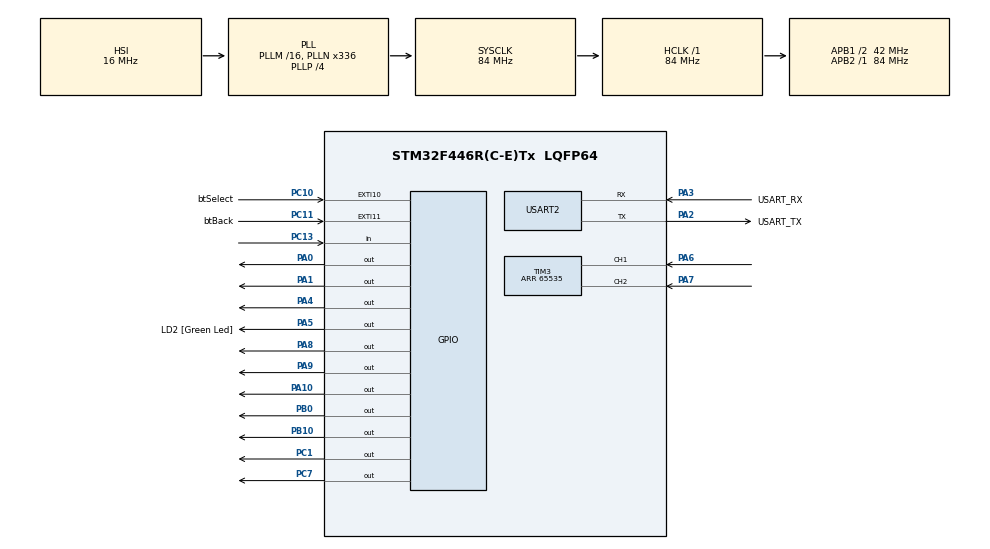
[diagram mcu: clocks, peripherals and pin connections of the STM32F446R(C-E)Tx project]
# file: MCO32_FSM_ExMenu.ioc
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Mcu.Family=STM32F4
Mcu.Name=STM32F446R(C-E)Tx
Mcu.Package=LQFP64
NVIC.EXTI15_10_IRQn=true\:0\:0\:false\:false\:true\:true\:true\:true
NVIC.PriorityGroup=NVIC_PRIORITYGROUP_0
PA0-WKUP.Signal=GPIO_Output
PA1.Signal=GPIO_Output
PA10.Signal=GPIO_Output
PA13.GPIO_Label=TMS
PA13.Mode=Serial_Wire
PA13.Signal=SYS_JTMS-SWDIO
PA14.GPIO_Label=TCK
PA14.Mode=Serial_Wire
PA14.Signal=SYS_JTCK-SWCLK
PA2.GPIO_Label=USART_TX
PA2.Mode=Asynchronous
PA2.Signal=USART2_TX
PA3.GPIO_Label=USART_RX
PA3.Mode=Asynchronous
PA3.Signal=USART2_RX
PA4.Signal=GPIO_Output
PA5.GPIO_Label=LD2 [Green Led]
PA5.Signal=GPIO_Output
PA6.Signal=S_TIM3_CH1
PA7.Signal=S_TIM3_CH2
PA8.Signal=GPIO_Output
PA9.Signal=GPIO_Output
PB0.Signal=GPIO_Output
PB10.Signal=GPIO_Output
PB3.GPIO_Label=SWO
PB3.Signal=SYS_JTDO-SWO
PB8.Signal=S_TIM2_CH1_ETR
PC1.Signal=GPIO_Output
PC10.GPIO_Label=btSelect
PC10.GPIO_PuPd=GPIO_PULLUP
PC10.Signal=GPXTI10
PC11.GPIO_Label=btBack
PC11.GPIO_PuPd=GPIO_PULLUP
PC11.Signal=GPXTI11
PC13.GPIO_Mode=GPIO_MODE_INPUT
PC13.GPIO_PuPd=GPIO_PULLUP
PC13.Signal=GPIO_Input
PC14-OSC32_IN.Mode=LSE-External-Oscillator
PC14-OSC32_IN.Signal=RCC_OSC32_IN
PC15-OSC32_OUT.Mode=LSE-External-Oscillator
PC15-OSC32_OUT.Signal=RCC_OSC32_OUT
PC7.Signal=GPIO_Output
PH0-OSC_IN.Mode=HSE-External-Oscillator
PH0-OSC_IN.Signal=RCC_OSC_IN
PH1-OSC_OUT.Mode=HSE-External-Oscillator
PH1-OSC_OUT.Signal=RCC_OSC_OUT
ProjectManager.HeapSize=0x200
ProjectManager.StackSize=0x400
ProjectManager.TargetToolchain=STM32CubeIDE
RCC.48MHZClocksFreq_Value=84000000
RCC.AHBFreq_Value=84000000
RCC.APB1CLKDivider=RCC_HCLK_DIV2
RCC.APB1Freq_Value=42000000
RCC.APB1TimFreq_Value=84000000
RCC.APB2Freq_Value=84000000
RCC.APB2TimFreq_Value=84000000
RCC.CortexFreq_Value=84000000
RCC.FLatency-AdvancedSettings=FLASH_LATENCY_2
RCC.HCLKFreq_Value=84000000
RCC.HSE_VALUE=8000000
RCC.HSI_VALUE=16000000
RCC.PLLN=336
RCC.PLLP=RCC_PLLP_DIV4
RCC.SYSCLKFreq_VALUE=84000000
RCC.SYSCLKSource=RCC_SYSCLKSOURCE_PLLCLK
RCC.USBFreq_Value=168000000
RCC.VCOOutputFreq_Value=336000000
SH.S_TIM2_CH1_ETR.0=TIM2_CH1
SH.S_TIM3_CH1.0=TIM3_CH1,Encoder_Interface
SH.S_TIM3_CH2.0=TIM3_CH2,Encoder_Interface
TIM1.AutoReloadPreload=TIM_AUTORELOAD_PRELOAD_ENABLE
TIM1.Period=0xFFFF-1
TIM1.Prescaler=84-1
TIM3.AutoReloadPreload=TIM_AUTORELOAD_PRELOAD_ENABLE
TIM3.IC1Filter=15
TIM3.IC2Filter=15
TIM3.Period=65535
USART2.VirtualMode=VM_ASYNC
VP_TIM1_VS_ClockSourceINT.Mode=Internal
board=NUCLEO-F446RE

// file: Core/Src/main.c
/* USER CODE BEGIN Header */
/**
  ******************************************************************************
  * @file           : main.c
  * @brief          : Main program body
  ******************************************************************************
  * @attention
  *
  * Copyright (c) 2022 STMicroelectronics.
  * All rights reserved.
  *
  * This software is licensed under terms that can be found in the LICENSE file
  * in the root directory of this software component.
  * If no LICENSE file comes with this software, it is provided AS-IS.
  *
  ******************************************************************************
  */
/* USER CODE END Header */
#include "main.h"

/* USER CODE BEGIN Includes */
#include "fonts.h"
#include "tft.h"
#include "user_setting.h"
#include "functions.h"
#include <stdio.h>
/* USER CODE END Includes */

TIM_HandleTypeDef htim1;
TIM_HandleTypeDef htim3;

UART_HandleTypeDef huart2;

/* USER CODE BEGIN PV */
uint16_t ID = 0;
uint8_t flagSelect = 0;
uint8_t flagBack = 0;
unsigned char cState, pState = 100;
int encoder = 0;
uint8_t input = 0;
uint16_t mem[15];
/* USER CODE END PV */

void SystemClock_Config(void);
static void MX_GPIO_Init(void);
static void MX_USART2_UART_Init(void);
static void MX_TIM1_Init(void);
static void MX_TIM3_Init(void);
/* USER CODE BEGIN PFP */
void drawScreen(uint16_t tela, uint16_t x, uint16_t y);
/* USER CODE END PFP */

/* USER CODE BEGIN 0 */

//Representa um estado da FSM
struct State {
	uint16_t out[3];
	unsigned char next[5]; //Vetor de próximos estados
};
typedef const struct State tipoS;

//Apelidos para referenciar os estados da FSM
#define A 0
#define B 1
#define C 2

#define A1 3
#define A2 4
#define A3 5

#define B1 6
#define B2 7
#define B3 8

#define C1 9
#define C2 10
#define C3 11

#define C3X 12
#define C3Y 13
#define C3Z 14

//Estrutura de dados que corresponde ao diagrama de transição de estados da FSM
tipoS Fsm[15] = {/*	Tela, x, y			0		1		2		3		4		*/
					{{1, 20,  40}, {	A,		B,		C,		A1,		A	}},	//Estado A
					{{1, 20, 120}, {	B, 		C,		A,		B1,		B	}},	//Estado B
					{{1, 20, 200}, {	C, 		A,		B,		C1,		C	}},	//Estado C

					{{2, 20,  40}, {	A1, 	A2,		A3,		A1,		A	}},	//Estado A1
					{{2, 20, 120}, {	A2, 	A3,		A1,		A2,		A	}},	//Estado A2
					{{2, 20, 200}, {	A3, 	A1,		A2,		A3,		A	}},	//Estado A3

					{{3, 20,  40}, {	B1, 	B2,		B3,		B1,		B	}},	//Estado B1
					{{3, 20, 120}, {	B2, 	B3,		B1,		B2,		B	}},	//Estado B2
					{{3, 20, 200}, {	B3, 	B1,		B2,		B3,		B	}},	//Estado B3

					{{4, 20,  40}, {	C1, 	C2,		C3,		C1,		C	}},	//Estado C1
					{{4, 20, 120}, {	C2, 	C3,		C1,		C2,		C	}},	//Estado C2
					{{4, 20, 200}, {	C3, 	C1,		C2,		C3X,	C	}},	//Estado C3

					{{5, 20,  40}, {	C3X, 	C3Y,	C3Z,	C3X,	C3	}},	//Estado C3X
					{{5, 20, 120}, {	C3Y, 	C3Z,	C3X,	C3Y,	C3	}},	//Estado C3Y
					{{5, 20, 200}, {	C3Z, 	C3X,	C3Y,	C3Z,	C3	}}	//Estado C3Z
};

/* USER CODE END 0 */

int main(void)
{

  /* MCU Configuration--------------------------------------------------------*/

  /* Reset of all peripherals, Initializes the Flash interface and the Systick. */
  HAL_Init();

  /* USER CODE BEGIN Init */
  //tft_gpio_init();
  /* USER CODE END Init */

  /* Configure the system clock */
  SystemClock_Config();

  /* Initialize all configured peripherals */
  MX_GPIO_Init();
  MX_USART2_UART_Init();
  MX_TIM1_Init();
  MX_TIM3_Init();
  /* USER CODE BEGIN 2 */
  /* Sequência de inicialização do LCD */
  tft_gpio_init(); //Inicializa os GPIOs do LCD (evita uso do CubeMX)
  HAL_TIM_Base_Start(&htim1); //Inicializa o Timer1 (base de tempo de us do LCD)
  ID = tft_readID(); //Lê o ID do LCD (poderia ser chamada pela inicialização do LCD)
  HAL_Delay(100);
  tft_init(ID); //Inicializa o LCD de acordo com seu ID
  setRotation(0); //Ajusta a orientação da tela (retrato)
  fillScreen(BLACK); //Preenche a tela em preto

  cState = A; //Inicia no estado A

  //Define todos os itens como não selecionados
  for(int i = A; i<=C3Z; i++)
	  mem[i] = WHITE;

  //Habilita o encoder
  HAL_TIM_Encoder_Start(&htim3, TIM_CHANNEL_ALL);
  //Zera o contador
  __HAL_TIM_SET_COUNTER(&htim3, 0);

  //Atualiza variável

  encoder = __HAL_TIM_GET_COUNTER(&htim3)>>1;

  /* USER CODE END 2 */

  /* Infinite loop */
  /* USER CODE BEGIN WHILE */
  while (1)
  {
	  /* 1. Saída baseada no estado atual */
	  if((cState != pState) || flagSelect == 2)
	  {
		  drawScreen(Fsm[cState].out[0], Fsm[cState].out[1], Fsm[cState].out[2]);
		  pState = cState;
		  flagSelect = 0;
	  }

	  /* 2. Aguarda o tempo predefinido para o estado */

	  //HAL_Delay(500);

	  /* 3. Lê as entradas */
	  if(flagBack == 1)
	  {
		  input = 4;
		  flagBack = 0;
	  }
	  else if(flagSelect == 1)
	  {
		  input = 3;
		  flagSelect = 2;

		  if((cState >= A1)&&(cState <= A3))
		  {
			  mem[A1] = WHITE;
			  mem[A2] = WHITE;
			  mem[A3] = WHITE;
		  }
		  else if((cState >= B1)&&(cState <= B3))
		  {
			  mem[B1] = WHITE;
			  mem[B2] = WHITE;
			  mem[B3] = WHITE;
		  }
		  else if((cState >= C1)&&(cState <= C2))
		  {
			  mem[C1] = WHITE;
			  mem[C2] = WHITE;
		  }
		  else if((cState >= C3X)&&(cState <= C3Z))
		  {
			  mem[C3X] = WHITE;
			  mem[C3Y] = WHITE;
			  mem[C3Z] = WHITE;
		  }

		  mem[cState] = RED;
	  }
	  else if(encoder > __HAL_TIM_GET_COUNTER(&htim3)>>1)
	  {
		  input = 2;
		  encoder = __HAL_TIM_GET_COUNTER(&htim3)>>1;
	  }
	  else if(encoder < __HAL_TIM_GET_COUNTER(&htim3)>>1)
	  {
		  input = 1;
		  encoder = __HAL_TIM_GET_COUNTER(&htim3)>>1;
	  }
	  else
	  {
		  input = 0;
	  }

	  /* 4. Vai para o próximo estado, que depende da entrada e do estado atual */
	  cState = Fsm[cState].next[input];

    /* USER CODE END WHILE */

  }
}

void SystemClock_Config(void)
{
  RCC_OscInitTypeDef RCC_OscInitStruct = {0};
  RCC_ClkInitTypeDef RCC_ClkInitStruct = {0};

  /** Configure the main internal regulator output voltage
  */
  __HAL_RCC_PWR_CLK_ENABLE();
  __HAL_PWR_VOLTAGESCALING_CONFIG(PWR_REGULATOR_VOLTAGE_SCALE3);

  /** Initializes the RCC Oscillators according to the specified parameters
  * in the RCC_OscInitTypeDef structure.
  */
  RCC_OscInitStruct.OscillatorType = RCC_OSCILLATORTYPE_HSI;
  RCC_OscInitStruct.HSIState = RCC_HSI_ON;
  RCC_OscInitStruct.HSICalibrationValue = RCC_HSICALIBRATION_DEFAULT;
  RCC_OscInitStruct.PLL.PLLState = RCC_PLL_ON;
  RCC_OscInitStruct.PLL.PLLSource = RCC_PLLSOURCE_HSI;
  RCC_OscInitStruct.PLL.PLLM = 16;
  RCC_OscInitStruct.PLL.PLLN = 336;
  RCC_OscInitStruct.PLL.PLLP = RCC_PLLP_DIV4;
  RCC_OscInitStruct.PLL.PLLQ = 2;
  RCC_OscInitStruct.PLL.PLLR = 2;
  if (HAL_RCC_OscConfig(&RCC_OscInitStruct) != HAL_OK)
  {
    Error_Handler();
  }

  /** Initializes the CPU, AHB and APB buses clocks
  */
  RCC_ClkInitStruct.ClockType = RCC_CLOCKTYPE_HCLK|RCC_CLOCKTYPE_SYSCLK
                              |RCC_CLOCKTYPE_PCLK1|RCC_CLOCKTYPE_PCLK2;
  RCC_ClkInitStruct.SYSCLKSource = RCC_SYSCLKSOURCE_PLLCLK;
  RCC_ClkInitStruct.AHBCLKDivider = RCC_SYSCLK_DIV1;
  RCC_ClkInitStruct.APB1CLKDivider = RCC_HCLK_DIV2;
  RCC_ClkInitStruct.APB2CLKDivider = RCC_HCLK_DIV1;

  if (HAL_RCC_ClockConfig(&RCC_ClkInitStruct, FLASH_LATENCY_2) != HAL_OK)
  {
    Error_Handler();
  }
}

static void MX_TIM1_Init(void)
{

  TIM_ClockConfigTypeDef sClockSourceConfig = {0};
  TIM_MasterConfigTypeDef sMasterConfig = {0};

  htim1.Instance = TIM1;
  htim1.Init.Prescaler = 84-1;
  htim1.Init.CounterMode = TIM_COUNTERMODE_UP;
  htim1.Init.Period = 0xFFFF-1;
  htim1.Init.ClockDivision = TIM_CLOCKDIVISION_DIV1;
  htim1.Init.RepetitionCounter = 0;
  htim1.Init.AutoReloadPreload = TIM_AUTORELOAD_PRELOAD_ENABLE;
  if (HAL_TIM_Base_Init(&htim1) != HAL_OK)
  {
    Error_Handler();
  }
  sClockSourceConfig.ClockSource = TIM_CLOCKSOURCE_INTERNAL;
  if (HAL_TIM_ConfigClockSource(&htim1, &sClockSourceConfig) != HAL_OK)
  {
    Error_Handler();
  }
  sMasterConfig.MasterOutputTrigger = TIM_TRGO_RESET;
  sMasterConfig.MasterSlaveMode = TIM_MASTERSLAVEMODE_DISABLE;
  if (HAL_TIMEx_MasterConfigSynchronization(&htim1, &sMasterConfig) != HAL_OK)
  {
    Error_Handler();
  }

}

static void MX_TIM3_Init(void)
{

  TIM_Encoder_InitTypeDef sConfig = {0};
  TIM_MasterConfigTypeDef sMasterConfig = {0};

  htim3.Instance = TIM3;
  htim3.Init.Prescaler = 0;
  htim3.Init.CounterMode = TIM_COUNTERMODE_UP;
  htim3.Init.Period = 65535;
  htim3.Init.ClockDivision = TIM_CLOCKDIVISION_DIV1;
  htim3.Init.AutoReloadPreload = TIM_AUTORELOAD_PRELOAD_ENABLE;
  sConfig.EncoderMode = TIM_ENCODERMODE_TI1;
  sConfig.IC1Polarity = TIM_ICPOLARITY_RISING;
  sConfig.IC1Selection = TIM_ICSELECTION_DIRECTTI;
  sConfig.IC1Prescaler = TIM_ICPSC_DIV1;
  sConfig.IC1Filter = 15;
  sConfig.IC2Polarity = TIM_ICPOLARITY_RISING;
  sConfig.IC2Selection = TIM_ICSELECTION_DIRECTTI;
  sConfig.IC2Prescaler = TIM_ICPSC_DIV1;
  sConfig.IC2Filter = 15;
  if (HAL_TIM_Encoder_Init(&htim3, &sConfig) != HAL_OK)
  {
    Error_Handler();
  }
  sMasterConfig.MasterOutputTrigger = TIM_TRGO_RESET;
  sMasterConfig.MasterSlaveMode = TIM_MASTERSLAVEMODE_DISABLE;
  if (HAL_TIMEx_MasterConfigSynchronization(&htim3, &sMasterConfig) != HAL_OK)
  {
    Error_Handler();
  }

}

static void MX_USART2_UART_Init(void)
{

  huart2.Instance = USART2;
  huart2.Init.BaudRate = 115200;
  huart2.Init.WordLength = UART_WORDLENGTH_8B;
  huart2.Init.StopBits = UART_STOPBITS_1;
  huart2.Init.Parity = UART_PARITY_NONE;
  huart2.Init.Mode = UART_MODE_TX_RX;
  huart2.Init.HwFlowCtl = UART_HWCONTROL_NONE;
  huart2.Init.OverSampling = UART_OVERSAMPLING_16;
  if (HAL_UART_Init(&huart2) != HAL_OK)
  {
    Error_Handler();
  }

}

static void MX_GPIO_Init(void)
{
  GPIO_InitTypeDef GPIO_InitStruct = {0};

  /* GPIO Ports Clock Enable */
  __HAL_RCC_GPIOC_CLK_ENABLE();
  __HAL_RCC_GPIOH_CLK_ENABLE();
  __HAL_RCC_GPIOA_CLK_ENABLE();
  __HAL_RCC_GPIOB_CLK_ENABLE();

  /*Configure GPIO pin Output Level */
  HAL_GPIO_WritePin(GPIOC, GPIO_PIN_1|GPIO_PIN_7, GPIO_PIN_RESET);

  /*Configure GPIO pin Output Level */
  HAL_GPIO_WritePin(GPIOA, GPIO_PIN_0|GPIO_PIN_1|GPIO_PIN_4|LD2_Pin
                          |GPIO_PIN_8|GPIO_PIN_9|GPIO_PIN_10, GPIO_PIN_RESET);

  /*Configure GPIO pin Output Level */
  HAL_GPIO_WritePin(GPIOB, GPIO_PIN_0|GPIO_PIN_10, GPIO_PIN_RESET);

  /*Configure GPIO pin : PC13 */
  GPIO_InitStruct.Pin = GPIO_PIN_13;
  GPIO_InitStruct.Mode = GPIO_MODE_INPUT;
  GPIO_InitStruct.Pull = GPIO_PULLUP;
  HAL_GPIO_Init(GPIOC, &GPIO_InitStruct);

  /*Configure GPIO pins : PC1 PC7 */
  GPIO_InitStruct.Pin = GPIO_PIN_1|GPIO_PIN_7;
  GPIO_InitStruct.Mode = GPIO_MODE_OUTPUT_PP;
  GPIO_InitStruct.Pull = GPIO_NOPULL;
  GPIO_InitStruct.Speed = GPIO_SPEED_FREQ_LOW;
  HAL_GPIO_Init(GPIOC, &GPIO_InitStruct);

  /*Configure GPIO pins : PA0 PA1 PA4 LD2_Pin
                           PA8 PA9 PA10 */
  GPIO_InitStruct.Pin = GPIO_PIN_0|GPIO_PIN_1|GPIO_PIN_4|LD2_Pin
                          |GPIO_PIN_8|GPIO_PIN_9|GPIO_PIN_10;
  GPIO_InitStruct.Mode = GPIO_MODE_OUTPUT_PP;
  GPIO_InitStruct.Pull = GPIO_NOPULL;
  GPIO_InitStruct.Speed = GPIO_SPEED_FREQ_LOW;
  HAL_GPIO_Init(GPIOA, &GPIO_InitStruct);

  /*Configure GPIO pins : PB0 PB10 */
  GPIO_InitStruct.Pin = GPIO_PIN_0|GPIO_PIN_10;
  GPIO_InitStruct.Mode = GPIO_MODE_OUTPUT_PP;
  GPIO_InitStruct.Pull = GPIO_NOPULL;
  GPIO_InitStruct.Speed = GPIO_SPEED_FREQ_LOW;
  HAL_GPIO_Init(GPIOB, &GPIO_InitStruct);

  /*Configure GPIO pins : btSelect_Pin btBack_Pin */
  GPIO_InitStruct.Pin = btSelect_Pin|btBack_Pin;
  GPIO_InitStruct.Mode = GPIO_MODE_IT_RISING;
  GPIO_InitStruct.Pull = GPIO_PULLUP;
  HAL_GPIO_Init(GPIOC, &GPIO_InitStruct);

  /*Configure GPIO pin : PB8 */
  GPIO_InitStruct.Pin = GPIO_PIN_8;
  GPIO_InitStruct.Mode = GPIO_MODE_AF_PP;
  GPIO_InitStruct.Pull = GPIO_NOPULL;
  GPIO_InitStruct.Speed = GPIO_SPEED_FREQ_LOW;
  GPIO_InitStruct.Alternate = GPIO_AF1_TIM2;
  HAL_GPIO_Init(GPIOB, &GPIO_InitStruct);

  /* EXTI interrupt init*/
  HAL_NVIC_SetPriority(EXTI15_10_IRQn, 0, 0);
  HAL_NVIC_EnableIRQ(EXTI15_10_IRQn);
}

/* USER CODE BEGIN 4 */

/**
 * @brief Desenha a tela
 */
void drawScreen(uint16_t tela, uint16_t x, uint16_t y)
{
	uint8_t titulo[10];
	sprintf((char*) titulo, "Tela %d", tela);
	//fillScreen(BLACK); //Preenche a tela em preto
	printnewtstr_bc(15, GREEN, BLACK, &mono12x7bold, 1, titulo);

	switch(tela)
	{
	case 1:
		printnewtstr_bc(70, WHITE, BLACK, &mono12x7bold, 1, (uint8_t*)"   A  "); //Item 1
		drawRoundRect(20, 40, 200, 50, 10, WHITE); //Item 1
		printnewtstr_bc(150, WHITE, BLACK, &mono12x7bold, 1, (uint8_t*)"   B  "); //Item 2
		drawRoundRect(20, 120, 200, 50, 10, WHITE); //Item 2
		printnewtstr_bc(230, WHITE, BLACK, &mono12x7bold, 1, (uint8_t*)"   C  "); //Item 3
		drawRoundRect(20, 200, 200, 50, 10, WHITE); //Item 3
		break;

	case 2:
		printnewtstr_bc(70, mem[A1], BLACK, &mono12x7bold, 1, (uint8_t*)"   A1 "); //Item 1
		drawRoundRect(20, 40, 200, 50, 10, WHITE); //Item 1
		printnewtstr_bc(150, mem[A2], BLACK, &mono12x7bold, 1, (uint8_t*)"   A2 "); //Item 2
		drawRoundRect(20, 120, 200, 50, 10, WHITE); //Item 2
		printnewtstr_bc(230, mem[A3], BLACK, &mono12x7bold, 1, (uint8_t*)"   A3 "); //Item 3
		drawRoundRect(20, 200, 200, 50, 10, WHITE); //Item 3
		break;

	case 3:
		printnewtstr_bc(70, mem[B1], BLACK, &mono12x7bold, 1, (uint8_t*)"   B1 "); //Item 1
		drawRoundRect(20, 40, 200, 50, 10, WHITE); //Item 1
		printnewtstr_bc(150, mem[B2], BLACK, &mono12x7bold, 1, (uint8_t*)"   B2 "); //Item 2
		drawRoundRect(20, 120, 200, 50, 10, WHITE); //Item 2
		printnewtstr_bc(230, mem[B3], BLACK, &mono12x7bold, 1, (uint8_t*)"   B3 "); //Item 3
		drawRoundRect(20, 200, 200, 50, 10, WHITE); //Item 3
		break;

	case 4:
		printnewtstr_bc(70, mem[C1], BLACK, &mono12x7bold, 1, (uint8_t*)"   C1 "); //Item 1
		drawRoundRect(20, 40, 200, 50, 10, WHITE); //Item 1
		printnewtstr_bc(150, mem[C2], BLACK, &mono12x7bold, 1, (uint8_t*)"   C2 "); //Item 2
		drawRoundRect(20, 120, 200, 50, 10, WHITE); //Item 2
		printnewtstr_bc(230, WHITE, BLACK, &mono12x7bold, 1, (uint8_t*)"   C3 "); //Item 3
		drawRoundRect(20, 200, 200, 50, 10, WHITE); //Item 3
		break;

	case 5:
		printnewtstr_bc(70, mem[C3X], BLACK, &mono12x7bold, 1, (uint8_t*)"   C3X"); //Item 1
		drawRoundRect(20, 40, 200, 50, 10, WHITE); //Item 1
		printnewtstr_bc(150, mem[C3Y], BLACK, &mono12x7bold, 1, (uint8_t*)"   C3Y"); //Item 2
		drawRoundRect(20, 120, 200, 50, 10, WHITE); //Item 2
		printnewtstr_bc(230, mem[C3Z], BLACK, &mono12x7bold, 1, (uint8_t*)"   C3Z"); //Item 3
		drawRoundRect(20, 200, 200, 50, 10, WHITE); //Item 3
		break;
	}

	drawRoundRect(x, y, 200, 50, 10, RED); //Cursor
}

void HAL_GPIO_EXTI_Callback(uint16_t GPIO_Pin)
{
	if(GPIO_Pin == GPIO_PIN_10)
	{
		flagSelect = 1;
	}
	else if(GPIO_Pin == GPIO_PIN_11)
	{
		flagBack = 1;
	}
}

/* USER CODE END 4 */

void Error_Handler(void)
{
  __disable_irq();
  while (1)
  {
  }
}
